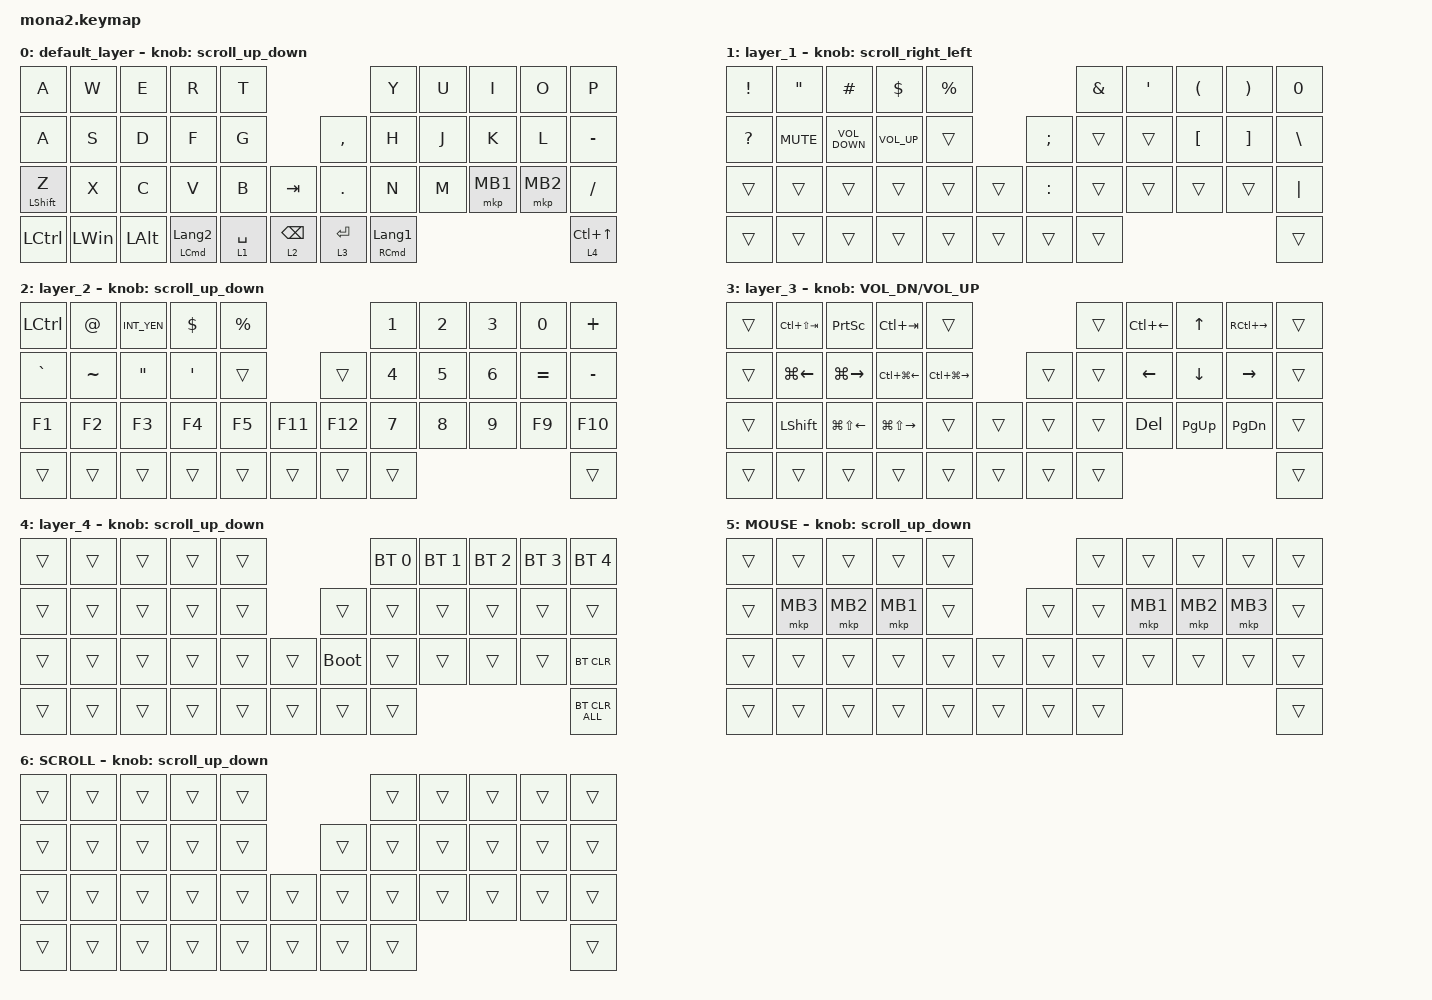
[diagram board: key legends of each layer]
#include <input/processors.dtsi>
#include <dt-bindings/zmk/input_transform.h>
#include <zephyr/dt-bindings/input/input-event-codes.h>
#include <behaviors.dtsi>
#include <dt-bindings/zmk/bt.h>
#include <dt-bindings/zmk/keys.h>
#include <dt-bindings/zmk/pointing.h>

#define ZMK_POINTING_DEFAULT_SCRL_VAL 100
#define MOUSE 5
#define SCROLL 6

&mt {
    flavor = "balanced";
    quick-tap-ms = <0>;
};

&lt {
    quick-tap-ms = <300>;
    flavor = "balanced";
};

/ {
    combos {
        compatible = "zmk,combos";

        layer4_ESC {
            bindings = <&lt 4 ESC>;
            key-positions = <39 38>;
        };

        tab {
            bindings = <&kp TAB>;
            key-positions = <11 12>;
        };
    };

    macros {
        to_layer_0: to_layer_0 {
            compatible = "zmk,behavior-macro-one-param";
            #binding-cells = <1>;
            bindings = <&to 0 &macro_param_1to1 &kp MACRO_PLACEHOLDER>;
            label = "TO_LAYER_0";
        };
    };

    behaviors {
        lt_to_layer_0: lt_to_layer_0 {
            compatible = "zmk,behavior-hold-tap";
            label = "LAYER_TAP_TO_0";
            bindings = <&mo>, <&to_layer_0>;

            #binding-cells = <2>;
            tapping-term-ms = <200>;
        };

        scroll_up_down: mouse_wheel_up_down {
            compatible = "zmk,behavior-sensor-rotate";
            #sensor-binding-cells = <0>;
            bindings = <&msc SCRL_DOWN>, <&msc SCRL_UP>;

            tap-ms = <20>;
        };

        scroll_right_left: mouse_wheel_right_left {
            compatible = "zmk,behavior-sensor-rotate";
            #sensor-binding-cells = <0>;
            bindings = <&msc SCRL_LEFT>, <&msc SCRL_RIGHT>;

            tap-ms = <20>;
        };
    };

    keymap {
        compatible = "zmk,keymap";

        default_layer {
            bindings = <
&kp A             &kp W         &kp E         &kp R                        &kp T                                        &kp Y                         &kp U  &kp I     &kp O     &kp P
&kp A             &kp S         &kp D         &kp F                        &kp G                           &kp COMMA    &kp H                         &kp J  &kp K     &kp L     &kp MINUS
&mt LEFT_SHIFT Z  &kp X         &kp C         &kp V                        &kp B        &kp TAB            &kp PERIOD   &kp N                         &kp M  &mkp MB1  &mkp MB2  &kp SLASH
&kp LCTRL         &kp LEFT_WIN  &kp LEFT_ALT  &mt LEFT_COMMAND LANGUAGE_2  &lt 1 SPACE  &lt 2 BACKSPACE    &lt 3 ENTER  &mt RIGHT_COMMAND LANGUAGE_1                             &lt 4 LC(UP_ARROW)
            >;

            sensor-bindings = <&scroll_up_down>;
        };

        layer_1 {
            bindings = <
&kp EXCLAMATION  &kp DOUBLE_QUOTES  &kp HASH           &kp DOLLAR       &kp PERCENT                           &kp AMPERSAND  &kp SQT  &kp LEFT_PARENTHESIS  &kp RIGHT_PARENTHESIS  &kp NUMBER_0
&kp QUESTION     &kp K_MUTE         &kp C_VOLUME_DOWN  &kp C_VOLUME_UP  &trans                 &kp SEMICOLON  &trans         &trans   &kp LEFT_BRACKET      &kp RIGHT_BRACKET      &kp BACKSLASH
&trans           &trans             &trans             &trans           &trans       &trans    &kp COLON      &trans         &trans   &trans                &trans                 &kp PIPE
&trans           &trans             &trans             &trans           &trans       &trans    &trans         &trans                                                               &trans
            >;

            sensor-bindings = <&scroll_right_left>;
        };

        layer_2 {
            bindings = <
&kp LCTRL  &kp AT_SIGN  &kp INT_YEN        &kp DOLLAR  &kp PERCENT                      &kp NUMBER_1  &kp NUMBER_2  &kp NUMBER_3  &kp NUMBER_0  &kp PLUS
&kp GRAVE  &kp TILDE    &kp DOUBLE_QUOTES  &kp SQT     &trans                  &trans   &kp NUMBER_4  &kp N5        &kp NUMBER_6  &kp EQUAL     &kp MINUS
&kp F1     &kp F2       &kp F3             &kp F4      &kp F5       &kp F11    &kp F12  &kp NUMBER_7  &kp NUMBER_8  &kp NUMBER_9  &kp F9        &kp F10
&trans     &trans       &trans             &trans      &trans       &trans     &trans   &trans                                                  &trans
            >;

            sensor-bindings = <&scroll_up_down>;
        };

        layer_3 {
            bindings = <
&trans  &kp LC(LS(TAB))     &kp PRINTSCREEN         &kp LC(TAB)              &trans                                     &trans  &kp LC(LEFT_ARROW)  &kp UP_ARROW    &kp RC(RIGHT_ARROW)  &trans
&trans  &kp LG(LEFT_ARROW)  &kp LG(RIGHT_ARROW)     &kp LC(LG(LEFT_ARROW))   &kp LC(LG(RIGHT_ARROW))            &trans  &trans  &kp LEFT_ARROW      &kp DOWN_ARROW  &kp RIGHT_ARROW      &trans
&trans  &kp LEFT_SHIFT      &kp LG(LS(LEFT_ARROW))  &kp LG(LS(RIGHT_ARROW))  &trans                   &trans    &trans  &trans  &kp DELETE          &kp PAGE_UP     &kp PAGE_DOWN        &trans
&trans  &trans              &trans                  &trans                   &trans                   &trans    &trans  &trans                                                           &trans
            >;

            sensor-bindings = <&inc_dec_kp C_VOL_DN C_VOL_UP>;
        };

        layer_4 {
            bindings = <
&trans  &trans  &trans  &trans  &trans                         &bt BT_SEL 0  &bt BT_SEL 1  &bt BT_SEL 2  &bt BT_SEL 3  &bt BT_SEL 4
&trans  &trans  &trans  &trans  &trans            &trans       &trans        &trans        &trans        &trans        &trans
&trans  &trans  &trans  &trans  &trans  &trans    &bootloader  &trans        &trans        &trans        &trans        &bt BT_CLR
&trans  &trans  &trans  &trans  &trans  &trans    &trans       &trans                                                  &bt BT_CLR_ALL
            >;

            sensor-bindings = <&scroll_up_down>;
        };

        MOUSE {
            bindings = <
&trans  &trans    &trans    &trans    &trans                    &trans  &trans    &trans    &trans    &trans
&trans  &mkp MB3  &mkp MB2  &mkp MB1  &trans            &trans  &trans  &mkp MB1  &mkp MB2  &mkp MB3  &trans
&trans  &trans    &trans    &trans    &trans  &trans    &trans  &trans  &trans    &trans    &trans    &trans
&trans  &trans    &trans    &trans    &trans  &trans    &trans  &trans                                &trans
            >;

            sensor-bindings = <&scroll_up_down>;
        };

        SCROLL {
            bindings = <
&trans  &trans  &trans  &trans  &trans                    &trans  &trans  &trans  &trans  &trans
&trans  &trans  &trans  &trans  &trans            &trans  &trans  &trans  &trans  &trans  &trans
&trans  &trans  &trans  &trans  &trans  &trans    &trans  &trans  &trans  &trans  &trans  &trans
&trans  &trans  &trans  &trans  &trans  &trans    &trans  &trans                          &trans
            >;

            sensor-bindings = <&scroll_up_down>;
        };
    };
};
